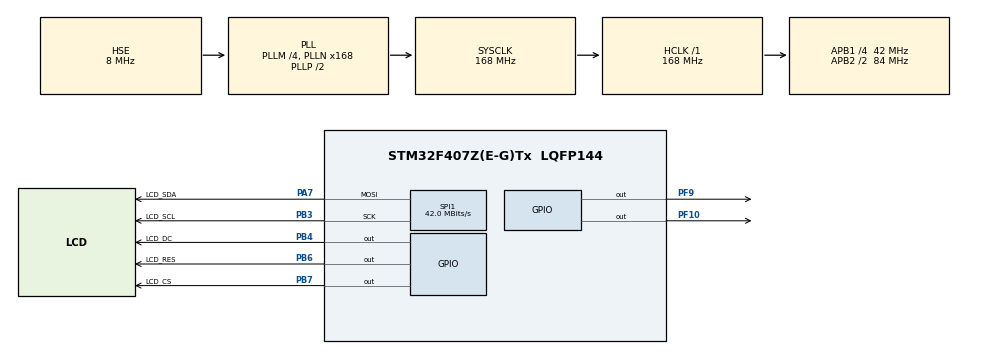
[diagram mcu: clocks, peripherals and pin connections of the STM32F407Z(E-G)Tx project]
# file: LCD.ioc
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Mcu.Family=STM32F4
Mcu.Name=STM32F407Z(E-G)Tx
Mcu.Package=LQFP144
NVIC.PriorityGroup=NVIC_PRIORITYGROUP_4
NVIC.TIM8_TRG_COM_TIM14_IRQn=true\:0\:0\:false\:false\:true\:false\:true
NVIC.TimeBase=TIM8_TRG_COM_TIM14_IRQn
NVIC.TimeBaseIP=TIM14
PA13.Mode=Serial_Wire
PA13.Signal=SYS_JTMS-SWDIO
PA14.Mode=Serial_Wire
PA14.Signal=SYS_JTCK-SWCLK
PA7.GPIO_Label=LCD_SDA
PA7.Mode=TX_Only_Simplex_Unidirect_Master
PA7.Signal=SPI1_MOSI
PB3.GPIO_Label=LCD_SCL
PB3.Mode=TX_Only_Simplex_Unidirect_Master
PB3.Signal=SPI1_SCK
PB4.GPIO_Label=LCD_DC
PB4.GPIO_Speed=GPIO_SPEED_FREQ_VERY_HIGH
PB4.Signal=GPIO_Output
PB6.GPIO_Label=LCD_RES
PB6.GPIO_Speed=GPIO_SPEED_FREQ_VERY_HIGH
PB6.Signal=GPIO_Output
PB7.GPIO_Label=LCD_CS
PB7.GPIO_Speed=GPIO_SPEED_FREQ_VERY_HIGH
PB7.Signal=GPIO_Output
PF10.Signal=GPIO_Output
PF9.Signal=GPIO_Output
PH0-OSC_IN.Mode=HSE-External-Oscillator
PH0-OSC_IN.Signal=RCC_OSC_IN
PH1-OSC_OUT.Mode=HSE-External-Oscillator
PH1-OSC_OUT.Signal=RCC_OSC_OUT
ProjectManager.HeapSize=0x200
ProjectManager.StackSize=0x400
ProjectManager.TargetToolchain=MDK-ARM V5.27
RCC.48MHZClocksFreq_Value=84000000
RCC.AHBFreq_Value=168000000
RCC.APB1CLKDivider=RCC_HCLK_DIV4
RCC.APB1Freq_Value=42000000
RCC.APB1TimFreq_Value=84000000
RCC.APB2CLKDivider=RCC_HCLK_DIV2
RCC.APB2Freq_Value=84000000
RCC.APB2TimFreq_Value=168000000
RCC.CortexFreq_Value=168000000
RCC.HCLKFreq_Value=168000000
RCC.HSE_VALUE=8000000
RCC.HSI_VALUE=16000000
RCC.LSE_VALUE=32768
RCC.PLLM=4
RCC.PLLN=168
RCC.PLLSourceVirtual=RCC_PLLSOURCE_HSE
RCC.SYSCLKFreq_VALUE=168000000
RCC.SYSCLKSource=RCC_SYSCLKSOURCE_PLLCLK
RCC.VCOOutputFreq_Value=336000000
SPI1.CalculateBaudRate=42.0 MBits/s
SPI1.Direction=SPI_DIRECTION_2LINES
SPI1.Mode=SPI_MODE_MASTER
SPI1.VirtualType=VM_MASTER
VP_SYS_VS_tim14.Mode=TIM14
board=custom

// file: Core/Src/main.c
/* USER CODE BEGIN Header */
/**
  ******************************************************************************
  * @file           : main.c
  * @brief          : Main program body
  ******************************************************************************
  * @attention
  *
  * <h2><center>&copy; Copyright (c) 2024 STMicroelectronics.
  * All rights reserved.</center></h2>
  *
  * This software component is licensed by ST under BSD 3-Clause license,
  * the "License"; You may not use this file except in compliance with the
  * License. You may obtain a copy of the License at:
  *                        opensource.org/licenses/BSD-3-Clause
  *
  ******************************************************************************
  */
/* USER CODE END Header */
#include "main.h"
#include "spi.h"
#include "gpio.h"

/* USER CODE BEGIN Includes */
#include "screen.h"
#include "image.h"
/* USER CODE END Includes */

void SystemClock_Config(void);
/* USER CODE BEGIN PFP */
extern uint8_t gImage_1[4][43200];
extern uint8_t gImage_2[4][43200];
/* USER CODE END PFP */

/* USER CODE BEGIN 0 */
int cnt=0;
/* USER CODE END 0 */

int main(void)
{

  /* MCU Configuration--------------------------------------------------------*/

  /* Reset of all peripherals, Initializes the Flash interface and the Systick. */
  HAL_Init();

  /* Configure the system clock */
  SystemClock_Config();

  /* Initialize all configured peripherals */
  MX_GPIO_Init();
  MX_SPI1_Init();
  /* USER CODE BEGIN 2 */
	screen_init(2);
	Screen_SetWindow(0, 239, 0, 239);
  /* USER CODE END 2 */

  /* Infinite loop */
  while (1)
  {

    /* USER CODE BEGIN 3 */

		if(cnt==0)
		{
			for (int p = 0; p < 4; p++)
			{
			if (p == 0)
					Screen_WriteFrameBuffer(gImage_1[0],
																				 43200,0);
			else
					Screen_WriteFrameBuffer(gImage_1[p],
																				 43200, true);
			}
		}
		else{
			for (int p = 0; p < 4; p++)
			{
			if (p == 0)
					Screen_WriteFrameBuffer(gImage_2[0],
																				 43200,0);
			else
					Screen_WriteFrameBuffer(gImage_2[p],
																				 43200, true);
			}
		}
		//HAL_Delay(1);
//		HAL_GPIO_TogglePin(GPIOF,GPIO_PIN_9);
//		HAL_GPIO_TogglePin(GPIOF,GPIO_PIN_10);
//		HAL_Delay(1000);
  }
  /* USER CODE END 3 */
}

void SystemClock_Config(void)
{
  RCC_OscInitTypeDef RCC_OscInitStruct = {0};
  RCC_ClkInitTypeDef RCC_ClkInitStruct = {0};

  /** Configure the main internal regulator output voltage
  */
  __HAL_RCC_PWR_CLK_ENABLE();
  __HAL_PWR_VOLTAGESCALING_CONFIG(PWR_REGULATOR_VOLTAGE_SCALE1);
  /** Initializes the RCC Oscillators according to the specified parameters
  * in the RCC_OscInitTypeDef structure.
  */
  RCC_OscInitStruct.OscillatorType = RCC_OSCILLATORTYPE_HSE;
  RCC_OscInitStruct.HSEState = RCC_HSE_ON;
  RCC_OscInitStruct.PLL.PLLState = RCC_PLL_ON;
  RCC_OscInitStruct.PLL.PLLSource = RCC_PLLSOURCE_HSE;
  RCC_OscInitStruct.PLL.PLLM = 4;
  RCC_OscInitStruct.PLL.PLLN = 168;
  RCC_OscInitStruct.PLL.PLLP = RCC_PLLP_DIV2;
  RCC_OscInitStruct.PLL.PLLQ = 4;
  if (HAL_RCC_OscConfig(&RCC_OscInitStruct) != HAL_OK)
  {
    Error_Handler();
  }
  /** Initializes the CPU, AHB and APB buses clocks
  */
  RCC_ClkInitStruct.ClockType = RCC_CLOCKTYPE_HCLK|RCC_CLOCKTYPE_SYSCLK
                              |RCC_CLOCKTYPE_PCLK1|RCC_CLOCKTYPE_PCLK2;
  RCC_ClkInitStruct.SYSCLKSource = RCC_SYSCLKSOURCE_PLLCLK;
  RCC_ClkInitStruct.AHBCLKDivider = RCC_SYSCLK_DIV1;
  RCC_ClkInitStruct.APB1CLKDivider = RCC_HCLK_DIV4;
  RCC_ClkInitStruct.APB2CLKDivider = RCC_HCLK_DIV2;

  if (HAL_RCC_ClockConfig(&RCC_ClkInitStruct, FLASH_LATENCY_5) != HAL_OK)
  {
    Error_Handler();
  }
}

 /**
  * @brief  Period elapsed callback in non blocking mode
  * @note   This function is called  when TIM14 interrupt took place, inside
  * HAL_TIM_IRQHandler(). It makes a direct call to HAL_IncTick() to increment
  * a global variable "uwTick" used as application time base.
  * @param  htim : TIM handle
  * @retval None
  */
void HAL_TIM_PeriodElapsedCallback(TIM_HandleTypeDef *htim)
{
  if (htim->Instance == TIM14) {
    HAL_IncTick();
  }
}

void Error_Handler(void)
{
  __disable_irq();
  while (1)
  {
  }
}

/************************ (C) COPYRIGHT STMicroelectronics *****END OF FILE****/
